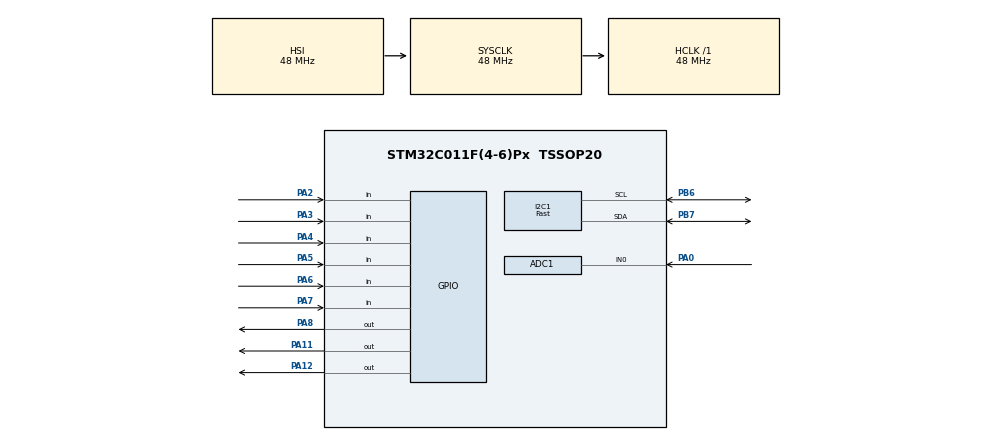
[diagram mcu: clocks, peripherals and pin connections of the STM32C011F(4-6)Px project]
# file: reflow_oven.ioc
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ADC1.NbrOfConversionFlag=0
ADC1.SelectedChannel=ADC_CHANNEL_0
ADC1.master=1
I2C1.I2C_Speed_Mode=I2C_Fast
I2C1.Timing=0x0090194B
Mcu.Family=STM32C0
Mcu.Name=STM32C011F(4-6)Px
Mcu.Package=TSSOP20
PA0.Mode=IN0
PA0.Signal=ADC1_IN0
PA11\ [PA9].Signal=GPIO_Output
PA12\ [PA10].Signal=GPIO_Output
PA2.GPIO_PuPd=GPIO_PULLUP
PA2.Signal=GPIO_Input
PA3.GPIO_PuPd=GPIO_PULLUP
PA3.Signal=GPIO_Input
PA4.GPIO_PuPd=GPIO_PULLUP
PA4.Signal=GPIO_Input
PA5.GPIO_PuPd=GPIO_PULLUP
PA5.Signal=GPIO_Input
PA6.GPIO_PuPd=GPIO_PULLUP
PA6.Signal=GPIO_Input
PA7.GPIO_PuPd=GPIO_PULLUP
PA7.Signal=GPIO_Input
PA8.Signal=GPIO_Output
PB6.GPIO_Pu=GPIO_PULLUP
PB6.Mode=I2C
PB6.Signal=I2C1_SCL
PB7.GPIO_Pu=GPIO_PULLUP
PB7.Mode=I2C
PB7.Signal=I2C1_SDA
ProjectManager.HeapSize=0x200
ProjectManager.StackSize=0x400
ProjectManager.TargetToolchain=STM32CubeIDE
RCC.ADCFreq_Value=48000000
RCC.AHBFreq_Value=48000000
RCC.CortexFreq_Value=48000000
RCC.EXTERNAL_CLOCK_VALUE=12288000
RCC.HCLKFreq_Value=48000000
RCC.HSE_VALUE=8000000
RCC.HSISYSCLKDivider=RCC_HSI_DIV1
RCC.HSI_VALUE=48000000
RCC.LSE_VALUE=32768
RCC.SYSCLKFreq_VALUE=48000000
board=custom

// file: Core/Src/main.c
/* USER CODE BEGIN Header */
/**
  ******************************************************************************
  * @file           : main.c
  * @brief          : Main program body
  ******************************************************************************
  * @attention
  *
  * Copyright (c) 2026 STMicroelectronics.
  * All rights reserved.
  *
  * This software is licensed under terms that can be found in the LICENSE file
  * in the root directory of this software component.
  * If no LICENSE file comes with this software, it is provided AS-IS.
  *
  ******************************************************************************
  */
/* USER CODE END Header */
#include "main.h"

/* USER CODE BEGIN Includes */
#include <string.h>
#include "OLED_096.h"
#include "NTC_thermistor.h"
#include "interface.h"
#include "OVEN_CTRL.h"
#include "app_state.h"
#include "EEPROM_EMUL.h"

/* USER CODE END Includes */

ADC_HandleTypeDef hadc1;

I2C_HandleTypeDef hi2c1;

/* USER CODE BEGIN PV */
extern uint8_t update_oled_screen;
extern uint8_t update_oled_menu;
extern Menu oled_menu;

extern TuneState tune_state;
extern CtrlState ctrl_state;
extern ReflowState reflow_state;

uint32_t now = 0;
uint32_t last_ctrl_time = 0;

AppContext app_ctx;

/* USER CODE END PV */

void SystemClock_Config(void);
static void MX_GPIO_Init(void);
static void MX_I2C1_Init(void);
static void MX_ADC1_Init(void);

int main(void)
{

  /* MCU Configuration--------------------------------------------------------*/

  /* Reset of all peripherals, Initializes the Flash interface and the Systick. */
  HAL_Init();

  /* Configure the system clock */
  SystemClock_Config();

  /* Initialize all configured peripherals */
  MX_GPIO_Init();
  MX_I2C1_Init();
  MX_ADC1_Init();
  /* USER CODE BEGIN 2 */

  HAL_ADCEx_Calibration_Start(&hadc1);
  //pwm start

  OLED_Init();
  EE_Read(app_ctx.settings);
  interface_init(&oled_menu);

  HAL_GPIO_WritePin(GPIOA, GPIO_PIN_11, GPIO_PIN_RESET); //RED LED
  HAL_GPIO_WritePin(GPIOA, GPIO_PIN_12, GPIO_PIN_RESET); //GREEN LED
  HAL_GPIO_WritePin(GPIOA, GPIO_PIN_8, GPIO_PIN_RESET); //OVEN

  /* USER CODE END 2 */

  /* Infinite loop */
  /* USER CODE BEGIN WHILE */
  while (1)
  {
	  now = HAL_GetTick();
	  app_ctx.current_time_ms = now;
	  app_ctx.current_temp_avg = (NTC_Read_Value(&hadc1) + NTC_Read_Value(&hadc1) + NTC_Read_Value(&hadc1)) / 3;

	  HAL_GPIO_WritePin(GPIOA, GPIO_PIN_12, (HAL_GetTick()/500)%2);

	  Button_Update(&oled_menu, &app_ctx);

	  if(now - last_ctrl_time >= 1000) //update time and temp each seconde
	  {
		  Time_Update((now - app_ctx.timer_start_ms)/1000);
		  Temp_Update(app_ctx.current_temp_avg);
		  SetPoint_Update(app_ctx.set_point);

		  if(app_ctx.system_state == STATE_AUTOTUNE)
		  {
			  TuneStep_Update(tune_state);
			  BangBangSetting_Update(app_ctx.settings[app_ctx.current_conf_index]);
			  OVEN_CTRL_AUTOTUNE(&app_ctx);
		  }
		  else if(app_ctx.system_state == STATE_REFLOW)
		  {
			  CtrlStep_Update(ctrl_state);
			  ReflowStep_Update(reflow_state);

			  OVEN_CTRL_REFLOW(&app_ctx);
			  OVEN_CTRL_CMD(&app_ctx);
			  if(reflow_state == REFLOW_DONE)
			  {
					oled_menu.cur_screen = oled_menu.next_screen;
					update_oled_menu = 1;
			  }
		  }
		  last_ctrl_time = now;
	  }

	  if (update_oled_screen) Update_Menu(&oled_menu);

	  if (update_oled_menu) Change_Menu(&oled_menu, &app_ctx);

	  HAL_Delay(10);
    /* USER CODE END WHILE */

  }
}

void SystemClock_Config(void)
{
  RCC_OscInitTypeDef RCC_OscInitStruct = {0};
  RCC_ClkInitTypeDef RCC_ClkInitStruct = {0};

  __HAL_FLASH_SET_LATENCY(FLASH_LATENCY_1);

  /** Initializes the RCC Oscillators according to the specified parameters
  * in the RCC_OscInitTypeDef structure.
  */
  RCC_OscInitStruct.OscillatorType = RCC_OSCILLATORTYPE_HSI;
  RCC_OscInitStruct.HSIState = RCC_HSI_ON;
  RCC_OscInitStruct.HSIDiv = RCC_HSI_DIV1;
  RCC_OscInitStruct.HSICalibrationValue = RCC_HSICALIBRATION_DEFAULT;
  if (HAL_RCC_OscConfig(&RCC_OscInitStruct) != HAL_OK)
  {
    Error_Handler();
  }

  /** Initializes the CPU, AHB and APB buses clocks
  */
  RCC_ClkInitStruct.ClockType = RCC_CLOCKTYPE_HCLK|RCC_CLOCKTYPE_SYSCLK
                              |RCC_CLOCKTYPE_PCLK1;
  RCC_ClkInitStruct.SYSCLKSource = RCC_SYSCLKSOURCE_HSI;
  RCC_ClkInitStruct.SYSCLKDivider = RCC_SYSCLK_DIV1;
  RCC_ClkInitStruct.AHBCLKDivider = RCC_HCLK_DIV1;
  RCC_ClkInitStruct.APB1CLKDivider = RCC_APB1_DIV1;

  if (HAL_RCC_ClockConfig(&RCC_ClkInitStruct, FLASH_LATENCY_1) != HAL_OK)
  {
    Error_Handler();
  }
}

static void MX_ADC1_Init(void)
{

  ADC_ChannelConfTypeDef sConfig = {0};

  /** Configure the global features of the ADC (Clock, Resolution, Data Alignment and number of conversion)
  */
  hadc1.Instance = ADC1;
  hadc1.Init.ClockPrescaler = ADC_CLOCK_SYNC_PCLK_DIV2;
  hadc1.Init.Resolution = ADC_RESOLUTION_12B;
  hadc1.Init.DataAlign = ADC_DATAALIGN_RIGHT;
  hadc1.Init.ScanConvMode = ADC_SCAN_SEQ_FIXED;
  hadc1.Init.EOCSelection = ADC_EOC_SINGLE_CONV;
  hadc1.Init.LowPowerAutoWait = DISABLE;
  hadc1.Init.LowPowerAutoPowerOff = DISABLE;
  hadc1.Init.ContinuousConvMode = DISABLE;
  hadc1.Init.NbrOfConversion = 1;
  hadc1.Init.DiscontinuousConvMode = DISABLE;
  hadc1.Init.ExternalTrigConv = ADC_SOFTWARE_START;
  hadc1.Init.ExternalTrigConvEdge = ADC_EXTERNALTRIGCONVEDGE_NONE;
  hadc1.Init.DMAContinuousRequests = DISABLE;
  hadc1.Init.Overrun = ADC_OVR_DATA_PRESERVED;
  hadc1.Init.SamplingTimeCommon1 = ADC_SAMPLETIME_1CYCLE_5;
  hadc1.Init.OversamplingMode = DISABLE;
  hadc1.Init.TriggerFrequencyMode = ADC_TRIGGER_FREQ_HIGH;
  if (HAL_ADC_Init(&hadc1) != HAL_OK)
  {
    Error_Handler();
  }

  /** Configure Regular Channel
  */
  sConfig.Channel = ADC_CHANNEL_0;
  sConfig.Rank = ADC_RANK_CHANNEL_NUMBER;
  if (HAL_ADC_ConfigChannel(&hadc1, &sConfig) != HAL_OK)
  {
    Error_Handler();
  }

}

static void MX_I2C1_Init(void)
{

  hi2c1.Instance = I2C1;
  hi2c1.Init.Timing = 0x0090194B;
  hi2c1.Init.OwnAddress1 = 0;
  hi2c1.Init.AddressingMode = I2C_ADDRESSINGMODE_7BIT;
  hi2c1.Init.DualAddressMode = I2C_DUALADDRESS_DISABLE;
  hi2c1.Init.OwnAddress2 = 0;
  hi2c1.Init.OwnAddress2Masks = I2C_OA2_NOMASK;
  hi2c1.Init.GeneralCallMode = I2C_GENERALCALL_DISABLE;
  hi2c1.Init.NoStretchMode = I2C_NOSTRETCH_DISABLE;
  if (HAL_I2C_Init(&hi2c1) != HAL_OK)
  {
    Error_Handler();
  }

  /** Configure Analogue filter
  */
  if (HAL_I2CEx_ConfigAnalogFilter(&hi2c1, I2C_ANALOGFILTER_ENABLE) != HAL_OK)
  {
    Error_Handler();
  }

  /** Configure Digital filter
  */
  if (HAL_I2CEx_ConfigDigitalFilter(&hi2c1, 0) != HAL_OK)
  {
    Error_Handler();
  }

}

static void MX_GPIO_Init(void)
{
  GPIO_InitTypeDef GPIO_InitStruct = {0};

  /* GPIO Ports Clock Enable */
  __HAL_RCC_GPIOB_CLK_ENABLE();
  __HAL_RCC_GPIOA_CLK_ENABLE();

  /*Configure GPIO pin Output Level */
  HAL_GPIO_WritePin(GPIOA, GPIO_PIN_8|GPIO_PIN_11|GPIO_PIN_12, GPIO_PIN_RESET);

  /*Configure GPIO pins : PA2 PA3 PA4 PA5
                           PA6 PA7 */
  GPIO_InitStruct.Pin = GPIO_PIN_2|GPIO_PIN_3|GPIO_PIN_4|GPIO_PIN_5
                          |GPIO_PIN_6|GPIO_PIN_7;
  GPIO_InitStruct.Mode = GPIO_MODE_INPUT;
  GPIO_InitStruct.Pull = GPIO_PULLUP;
  HAL_GPIO_Init(GPIOA, &GPIO_InitStruct);

  /*Configure GPIO pins : PA8 PA11 PA12 */
  GPIO_InitStruct.Pin = GPIO_PIN_8|GPIO_PIN_11|GPIO_PIN_12;
  GPIO_InitStruct.Mode = GPIO_MODE_OUTPUT_PP;
  GPIO_InitStruct.Pull = GPIO_NOPULL;
  GPIO_InitStruct.Speed = GPIO_SPEED_FREQ_LOW;
  HAL_GPIO_Init(GPIOA, &GPIO_InitStruct);

}

void Error_Handler(void)
{
  __disable_irq();
  while (1)
  {
  }
}
